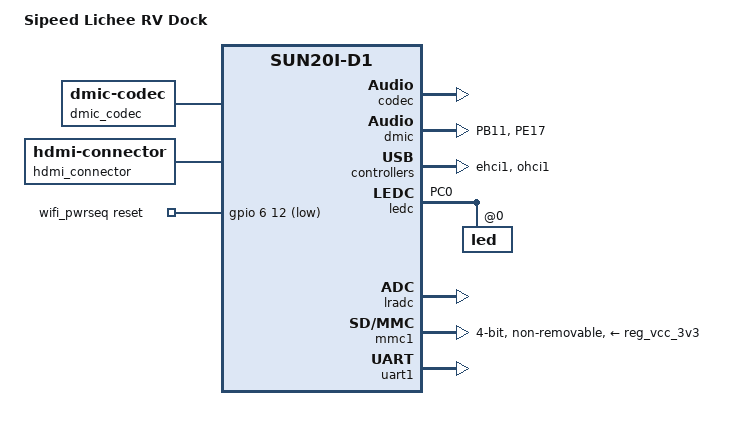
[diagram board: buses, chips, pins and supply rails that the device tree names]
// SPDX-License-Identifier: (GPL-2.0+ or MIT)
// Copyright (C) 2022 Jisheng Zhang <jszhang@kernel.org>
// Copyright (C) 2022 Samuel Holland <samuel@sholland.org>

#include "sun20i-d1-lichee-rv.dts"

#include <dt-bindings/input/input.h>

/ {
	model = "Sipeed Lichee RV Dock";
	compatible = "sipeed,lichee-rv-dock", "sipeed,lichee-rv",
		     "allwinner,sun20i-d1";

	aliases {
		mmc1 = &mmc1;
	};

	chosen {
		stdout-path = "serial0:115200n8";
	};

	dmic-card {
		compatible = "simple-audio-card";
		#address-cells = <1>;
		#size-cells = <0>;

		simple-audio-card,dai-link@0 {
			format = "pdm";
			frame-master = <&link0_cpu>;
			bitclock-master = <&link0_cpu>;

			link0_cpu: cpu {
				sound-dai = <&dmic>;
			};

			link0_codec: codec {
				sound-dai = <&dmic_codec>;
			};
		};
	};

	dmic_codec: dmic-codec {
		compatible = "dmic-codec";
		num-channels = <2>;
		#sound-dai-cells = <0>;
	};

	hdmi_connector: connector {
		compatible = "hdmi-connector";
		type = "a";

		port {
			hdmi_con_in: endpoint {
				// FIXME: remote-endpoint = <&hdmi_out_con>;
			};
		};
	};

	wifi_pwrseq: wifi-pwrseq {
		compatible = "mmc-pwrseq-simple";
		reset-gpios = <&gpio 6 12 GPIO_ACTIVE_LOW>; /* PG12 */
	};
};

&codec {
	allwinner,routing = "Internal Speaker", "HPOUTL",
			    "Internal Speaker", "HPOUTR",
			    "LINEINL", "HPOUTL",
			    "LINEINR", "HPOUTR",
			    "MICIN3", "Internal Microphone",
			    "Internal Microphone", "HBIAS";
	allwinner,widgets = "Microphone", "Internal Microphone",
			    "Speaker", "Internal Speaker";
	status = "okay";
};

&dmic {
	pinctrl-0 = <&dmic_pb11_d0_pin>, <&dmic_pe17_clk_pin>;
	pinctrl-names = "default";
	status = "okay";
};

&ehci1 {
	status = "okay";
};

&gpio {
	dmic_pb11_d0_pin: dmic-pb11-d0-pin {
		pins = "PB11";
		function = "dmic";
	};

	dmic_pe17_clk_pin: dmic-pe17-clk-pin {
		pins = "PE17";
		function = "dmic";
	};

	ledc_pc0_pin: ledc-pc0-pin {
		pins = "PC0";
		function = "ledc";
	};
};

&ledc {
	pinctrl-0 = <&ledc_pc0_pin>;
	pinctrl-names = "default";
	status = "okay";

	led@0 {
		reg = <0x0>;
		color = <LED_COLOR_ID_RGB>;
		function = LED_FUNCTION_STATUS;
	};
};

&lradc {
	wakeup-source;
	status = "okay";

	button-220 {
		label = "OK";
		linux,code = <KEY_OK>;
		channel = <0>;
		voltage = <220000>;
	};
};

&mmc1 {
	bus-width = <4>;
	mmc-pwrseq = <&wifi_pwrseq>;
	non-removable;
	vmmc-supply = <&reg_vcc_3v3>;
	vqmmc-supply = <&reg_vcc_3v3>;
	pinctrl-0 = <&mmc1_pins>;
	pinctrl-names = "default";
	status = "okay";
};

&ohci1 {
	status = "okay";
};

&uart1 {
	pinctrl-0 = <&uart1_pg6_pins>, <&uart1_pg8_rts_cts_pins>;
	pinctrl-names = "default";
	status = "okay";
};

&usbphy {
	usb1_vbus-supply = <&reg_vcc>;
};
